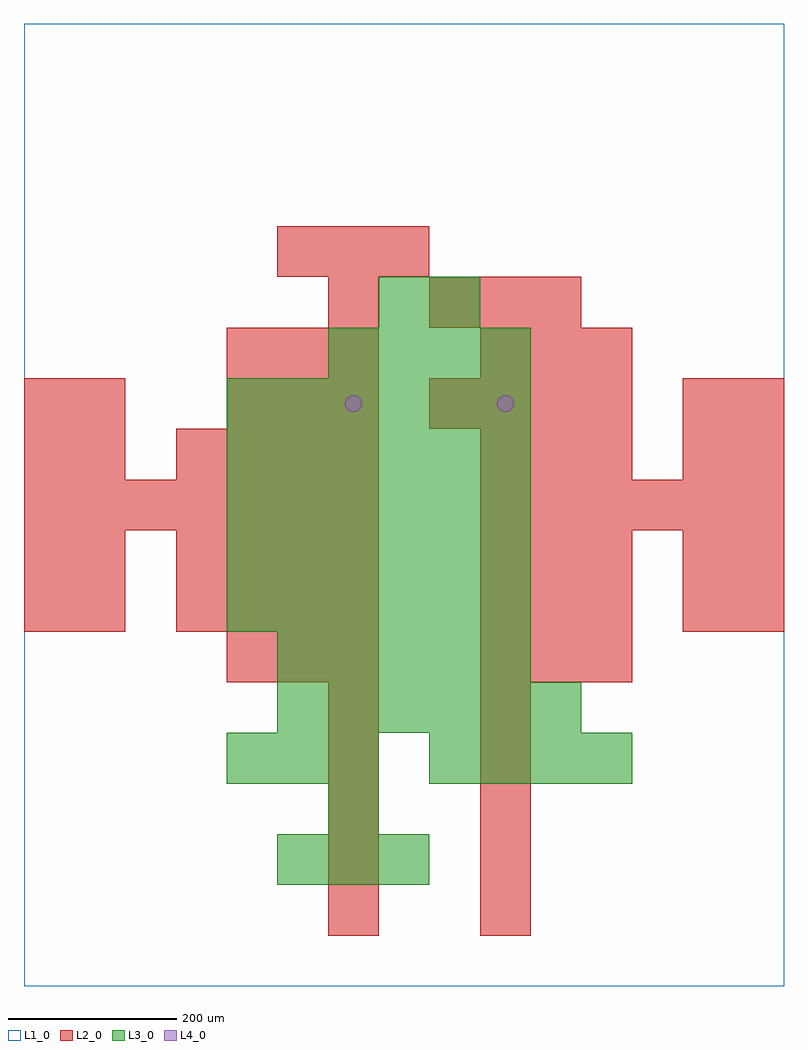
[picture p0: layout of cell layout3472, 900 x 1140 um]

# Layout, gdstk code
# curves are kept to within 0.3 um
import gdstk
lib = gdstk.Library(unit=1e-6, precision=1e-09)
def R(c, l, rs):  # rectangles x0, y0, x1, y1
    for r in rs: c.add(gdstk.rectangle(r[:2], r[2:], *l))
def A(c, l, x, y, w, h, nx, ny, dx, dy):  # array of equal rectangles
    R(c, l, [(x+i*dx, y+j*dy, x+i*dx+w, y+j*dy+h) for i in range(nx) for j in range(ny)])
def P(c, l, *ps):  # polygons
    for p in ps: c.add(gdstk.Polygon(p, *l))
L1_0 = (1, 0)
L2_0 = (2, 0)
L3_0 = (3, 0)
L4_0 = (4, 0)

layout3472 = lib.new_cell('layout3472')
R(layout3472, L1_0, [(0,0,900,1140)])
A(layout3472, L2_0, 360, 60, 60, 60, 1, 5, 0, 60)
A(layout3472, L2_0, 540, 60, 60, 60, 1, 5, 0, 60)
A(layout3472, L2_0, 240, 360, 60, 60, 3, 2, 60, 300)
A(layout3472, L2_0, 540, 360, 60, 60, 3, 3, 60, 60)
A(layout3472, L2_0, 180, 420, 60, 60, 4, 2, 60, 60)
A(layout3472, L2_0, 0, 540, 60, 60, 7, 1, 60, 0)
A(layout3472, L2_0, 540, 540, 60, 60, 6, 1, 60, 0)
A(layout3472, L2_0, 180, 600, 60, 60, 4, 1, 60, 0)
A(layout3472, L2_0, 540, 600, 60, 60, 3, 2, 60, 120)
A(layout3472, L2_0, 480, 660, 60, 60, 4, 1, 60, 0)
A(layout3472, L2_0, 240, 720, 60, 60, 3, 1, 60, 0)
A(layout3472, L2_0, 480, 780, 60, 60, 3, 1, 60, 0)
A(layout3472, L2_0, 300, 840, 60, 60, 3, 1, 60, 0)
R(layout3472, L2_0, [(0,420,60,480), (60,420,120,480), (780,420,840,480), (840,420,900,480), (0,480,60,540), (60,480,120,540), (780,480,840,540), (840,480,900,540), (0,600,60,660), (60,600,120,660), (780,600,840,660), (840,600,900,660), (0,660,60,720), (60,660,120,720), (780,660,840,720), (840,660,900,720), (360,780,420,840)])
A(layout3472, L3_0, 300, 120, 60, 60, 3, 1, 60, 0)
A(layout3472, L3_0, 240, 240, 60, 60, 3, 1, 60, 0)
A(layout3472, L3_0, 480, 240, 60, 60, 4, 1, 60, 0)
A(layout3472, L3_0, 300, 300, 60, 60, 6, 1, 60, 0)
A(layout3472, L3_0, 300, 360, 60, 60, 5, 1, 60, 0)
A(layout3472, L3_0, 240, 420, 60, 60, 6, 5, 60, 60)
A(layout3472, L3_0, 360, 720, 60, 60, 4, 1, 60, 0)
R(layout3472, L3_0, [(360,180,420,240), (420,780,480,840), (480,780,540,840)])
P(layout3472, L4_0, [(400,690),(399.239,693.827),(397.071,697.071),(393.827,699.239),(390,700),(386.173,699.239),(382.929,697.071),(380.761,693.827),(380,690),(380.761,686.173),(382.929,682.929),(386.173,680.761),(390,680),(393.827,680.761),(397.071,682.929),(399.239,686.173)],
  [(580,690),(579.239,693.827),(577.071,697.071),(573.827,699.239),(570,700),(566.173,699.239),(562.929,697.071),(560.761,693.827),(560,690),(560.761,686.173),(562.929,682.929),(566.173,680.761),(570,680),(573.827,680.761),(577.071,682.929),(579.239,686.173)])

lib.write_gds('layout3472.gds')
